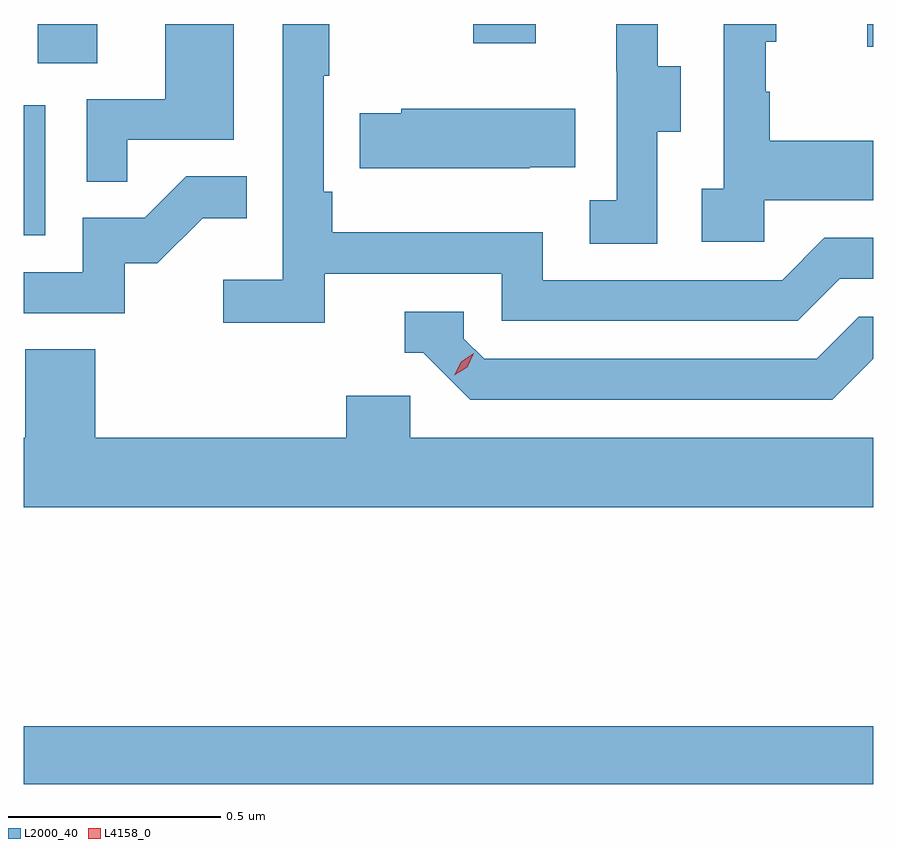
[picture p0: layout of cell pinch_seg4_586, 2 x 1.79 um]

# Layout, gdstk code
import gdstk
lib = gdstk.Library(unit=1e-6, precision=1e-09)
def R(c, l, rs):  # rectangles x0, y0, x1, y1
    for r in rs: c.add(gdstk.rectangle(r[:2], r[2:], *l))
def P(c, l, *ps):  # polygons
    for p in ps: c.add(gdstk.Polygon(p, *l))
L2000_40 = (2000, 40)
L4158_0 = (4158, 0)

pinch_seg4_586 = lib.new_cell('pinch_seg4_586')
R(pinch_seg4_586, L2000_40, [(1078.298,780.184,1080.298,780.32), (1078.298,781.476,1078.348,781.783), (1078.331,781.882,1078.471,781.974), (1080.284,781.92,1080.298,781.974), (1079.356,781.929,1079.503,781.974)])
P(pinch_seg4_586, L2000_40, [(1079.79,781.72),(1079.845,781.72),(1079.845,781.875),(1079.791,781.875),(1079.791,781.974),(1079.693,781.974),(1079.693,781.863),(1079.694,781.863),(1079.694,781.559),(1079.631,781.559),(1079.631,781.456),(1079.79,781.456)],
  [(1078.541,781.701),(1078.792,781.701),(1078.792,781.974),(1078.631,781.974),(1078.631,781.797),(1078.446,781.797),(1078.446,781.603),(1078.541,781.603)],
  [(1080.042,781.559),(1080.298,781.559),(1080.298,781.699),(1080.055,781.699),(1080.055,781.814),(1080.045,781.814),(1080.045,781.932),(1080.07,781.932),(1080.07,781.974),(1079.946,781.974),(1079.946,781.586),(1079.895,781.586),(1079.895,781.461),(1080.042,781.461)],
  [(1079.006,781.386),(1079.424,781.386),(1079.424,781.275),(1080.121,781.275),(1080.22,781.374),(1080.298,781.374),(1080.298,781.47),(1080.183,781.47),(1080.084,781.371),(1079.52,781.371),(1079.52,781.483),(1079.024,781.483),(1079.024,781.579),(1079.004,781.579),(1079.004,781.852),(1079.017,781.852),(1079.017,781.974),(1078.908,781.974),(1078.908,781.372),(1078.767,781.372),(1078.767,781.27),(1079.006,781.27)],
  [(1079.489,781.637),(1079.597,781.637),(1079.597,781.774),(1079.187,781.774),(1079.187,781.764),(1079.089,781.764),(1079.089,781.634),(1079.489,781.634)],
  [(1078.536,781.41),(1078.612,781.41),(1078.719,781.517),(1078.823,781.517),(1078.823,781.616),(1078.68,781.616),(1078.582,781.518),(1078.437,781.518),(1078.437,781.389),(1078.298,781.389),(1078.298,781.293),(1078.536,781.293)],
  [(1080.298,781.185),(1080.298,781.284),(1080.264,781.284),(1080.165,781.185),(1079.382,781.185),(1079.334,781.233),(1079.334,781.296),(1079.195,781.296),(1079.195,781.2),(1079.238,781.2),(1079.349,781.089),(1080.202,781.089)],
  [(1080.298,781),(1079.208,781),(1079.208,781.098),(1079.057,781.098),(1079.057,781),(1078.466,781),(1078.466,781.208),(1078.301,781.208),(1078.301,781),(1078.298,781),(1078.298,780.836),(1080.298,780.836)])
P(pinch_seg4_586, L4158_0, [(1079.311,781.147),(1079.311,781.147),(1079.328,781.179),(1079.358,781.198),(1079.358,781.198),(1079.358,781.198),(1079.342,781.166),(1079.312,781.147)])

lib.write_gds('pinch_seg4_586.gds')
